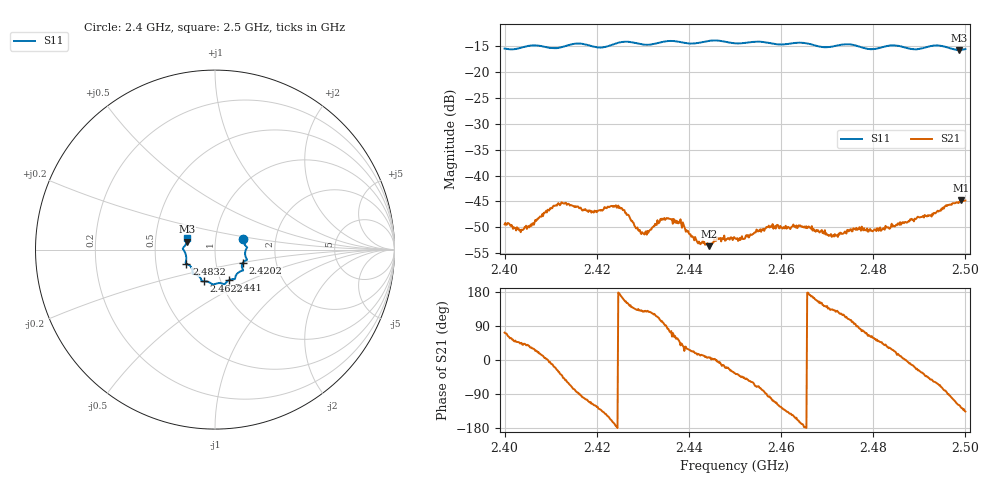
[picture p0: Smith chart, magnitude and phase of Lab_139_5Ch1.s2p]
# Hz S RI R 50
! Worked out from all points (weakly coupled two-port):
!   601 points, 2.4 GHz to 2.5 GHz, reference 50 ohm
!   highest |S21| = -44.76 dB at 2.499 GHz (marker M1); lowest = -53.6 dB at 2.4443 GHz (marker M2)
!   lowest |S11| = -15.8 dB at 2.4987 GHz (marker M3), VSWR 1.39, Z = 36.4 + j3.35 ohm
!   |S11| at or under -10 dB: start of sweep to end of sweep
!   S12 and S22 are empty: the file has one direction only
!   S11 on the Smith chart (normalised r, x): 2.4 GHz: 1.36, +0.17; 2.4202 GHz: 1.35, -0.20; 2.441 GHz: 1.09, -0.39; 2.4622 GHz: 0.83, -0.30; 2.4832 GHz: 0.72, -0.12; 2.5 GHz: 0.73, +0.09
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2.4e9  0.1565 0.0596  0.00104 0.00322  0 0  0 0
2.403667e9  0.1699 0.0217  0.00212 0.00214  0 0  0 0
2.412e9  0.1684 -0.0308  0.00417 -0.00305  0 0  0 0
2.416667e9  0.1772 -0.0582  -0.000373 -0.00476  0 0  0 0
2.420167e9  0.156 -0.0724  -0.00252 -0.00382  0 0  0 0
2.425e9  0.1557 -0.1127  -0.00492 0.000525  0 0  0 0
2.43e9  0.1339 -0.1254  -0.0017 0.00221  0 0  0 0
2.433333e9  0.1131 -0.1524  -0.00129 0.00321  0 0  0 0
2.435167e9  0.1114 -0.1628  0.000152 0.00389  0 0  0 0
2.437667e9  0.1049 -0.1649  0.00204 0.0028  0 0  0 0
2.441e9  0.0766 -0.171  0.00232 0.000973  0 0  0 0
2.444333e9  0.056 -0.1907  0.00207 0.000263  0 0  0 0
2.45e9  0.026 -0.1866  0.00203 -0.00142  0 0  0 0
2.457667e9  -0.0231 -0.1873  -0.000542 -0.00315  0 0  0 0
2.462167e9  -0.0631 -0.1766  -0.0025 -0.00195  0 0  0 0
2.466667e9  -0.0767 -0.1665  -0.00319 0.000675  0 0  0 0
2.4715e9  -0.1112 -0.1373  -0.0017 0.00194  0 0  0 0
2.483167e9  -0.1597 -0.0782  0.00262 0.0018  0 0  0 0
2.483333e9  -0.1605 -0.0779  0.00271 0.00164  0 0  0 0
2.498667e9  -0.1559 0.0448  -0.00272 -0.00486  0 0  0 0
2.499e9  -0.1551 0.0494  -0.00328 -0.00475  0 0  0 0
2.5e9  -0.1534 0.063  -0.00412 -0.00399  0 0  0 0
